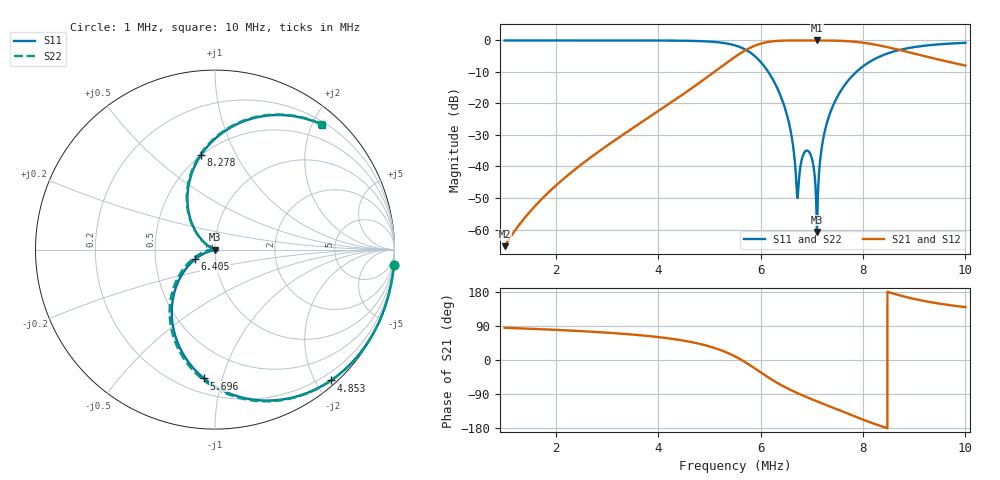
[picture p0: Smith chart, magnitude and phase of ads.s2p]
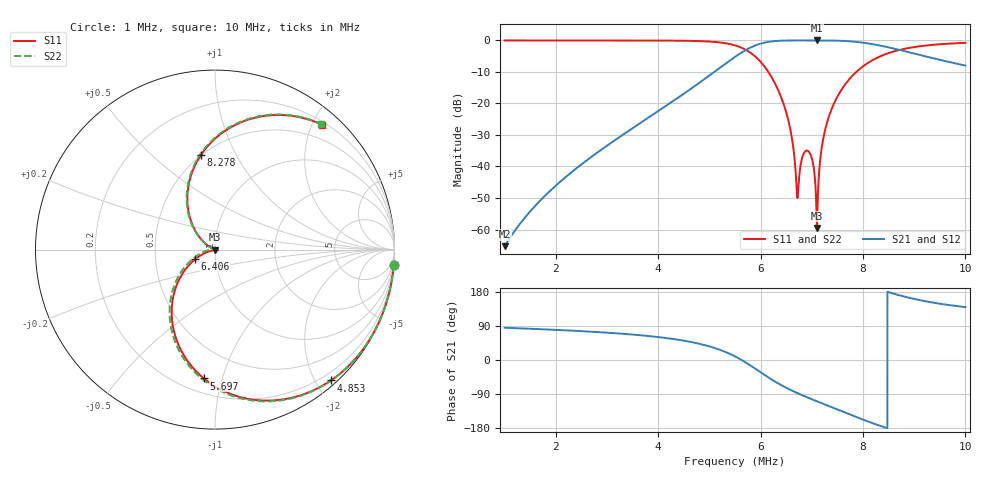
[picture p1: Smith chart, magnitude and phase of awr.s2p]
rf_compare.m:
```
scriptDir = fileparts(mfilename("fullpath"));
epsDir = [scriptDir, '/eps/rf']
mkdir(epsDir)
ads = sparameters('data/rf_tank/ads.s2p')
awr = sparameters('data/rf_tank/awr.s2p')
meas = sparameters('data/rf_tank/TUNEDCOILS1.S2P')
S11ads=rfparam(ads,1,1);
S11meas=rfparam(meas,1,1);

freqsads = ads.Frequencies;
freqsmeas = meas.Frequencies;
f=figure("Position",[100,100,400,450]);
plt = smithplot();
ax = f.CurrentAxes;
hold(ax,"on");


% a=smithplot(ax,freqsads,S11ads);%,"LegendLabels",{'Simulation S11'});
% b=smithplot(ax,freqsmeas,S11meas);%,"LegendLabels",{'Measured S11'});
smithplot(meas,1,1,"LegendLabels",{'S11, Measured'})
smithplot(ads,1,1,"LegendLabels",{'S11, ADS Simulation'});
% c=smithplot(awr,1,1,'--',"LegendLabels", {'AWR Simulation S11'})
legend(ax,"Location","southoutside")
figure
rfplot(ads)
hold on
rfplot(meas)

figure;

exportgraphics(ax,[epsDir, '/s11.eps'])



%% CLEAN THIS

figure("Position",[100,100,400,450]);
nexttile

% tiledlayout("horizontal")
% nexttile
% plot(ads.Frequencies,abs(x))
% nexttile
% plot(ads.Frequencies,rad2deg(angle(x)))
% nexttile
% tiledlayout("vertical")
% nexttile
% plot(ads.Frequencies,abs(x))
% nexttile
% plot(ads.Frequencies,rad2deg(angle(x)))
% nexttile
% rfplot(ads,1,1)
% rfplot(ads,1,1,"abs")
% 
ads_z = zparameters(ads)

ads_z.Parameters(1,1)
ads_z.Parameters(:,1,1)

tiledlayout('vertical')
nexttile

plot(ads_z.Frequencies,abs(rfparam(ads_z,1,1)))
plot(ads_z.Frequencies,db(rfparam(ads_z,1,1)))
nexttile
plot(ads_z.Frequencies,rad2deg(angle(rfparam(ads_z,1,1))))
nexttile(1)
hold on
meas_z = zparameters(meas)
plot(meas_z.Frequencies,db(rfparam(meas_z,1,1)))
xline(6.78e6)
nexttile
nexttile(2)
hold on
plot(meas_z.Frequencies,rad2deg(angle(rfparam(meas_z,1,1))))
%-- 1/12/2026 04:43 PM --%
```
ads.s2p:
! Created Sun Jan 11 17:40:14 2026
# hz S ma R 50
! 2 Port Network Data from SP1.SP block
! freq  magS11  angS11  magS21  angS21  magS12  angS12  magS22  angS22
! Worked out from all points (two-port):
!   10001 points, 1 MHz to 10 MHz, reference 50 ohm
!   highest |S21| = 0.00 dB at 7.098 MHz (marker M1); lowest = -65.3 dB at 1 MHz (marker M2)
!   |S21| within 3 dB of the highest: 5.717 MHz to 8.711 MHz (2.995 MHz wide, 41.5 % of centre)
!   lowest |S11| = -60.8 dB at 7.101 MHz (marker M3), VSWR 1.00, Z = 50 - j0.0844 ohm
!   |S11| at or under -10 dB: 6.151 MHz to 7.869 MHz (1.718 MHz wide, 24.5 % of centre)
!   |S22| runs from -58.4 to 0.0 dB; largest |S21 - S12| = 0
!   S11 on the Smith chart (normalised r, x): 1 MHz: 0, -24; 4.853 MHz: 0.08, -2.22; 5.696 MHz: 0.29, -0.88; 6.405 MHz: 0.80, -0.09; 8.278 MHz: 0.50, +0.73; 10 MHz: 0.25, +2.15
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1000000  1 -4.9  0.000544 85.1  0.000544 85.1  1 -4.9
4852900  0.9736 -48.5  0.2276 41.2  0.2276 41.2  0.9736 -49.1
5500000  0.8354 -80.0  0.549 9.5  0.549 9.5  0.8354 -81.0
5696200  0.7207 -94.9  0.6926 -5.5  0.6926 -5.5  0.7207 -96.1
6405400  0.1231 -154.0  0.9919 -66.5  0.9919 -66.5  0.1231 -158.8
6714100  0.003349 -104.1  0.9996 -87.1  0.9996 -87.1  0.003308 110.3
7098400  0.001018 -84.5  0.9996 -108.9  0.9996 -108.9  0.001279 52.1
7101100  0.000914 -112.4  0.9996 -109.1  0.9996 -109.1  0.001199 73.7
7420600  0.09453 143.3  0.9951 -126.3  0.9951 -126.3  0.09453 143.8
8278300  0.5322 98.5  0.8461 -171.1  0.8461 -171.1  0.5322 99.2
1e7  0.9164 49.4  0.3999 139.6  0.3999 139.6  0.9164 49.8
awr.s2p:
! AWR Design Environment (19348) Sun Jan 11 20:23:27 2026
! Document = 'Resonant Tank Simulation'
! nPorts: 2, nXvals: 10001
# MHz S DB R 50
!Freq DBS11 AngS11 DBS21 AngS21 DBS12 AngS12 DBS22 AngS22
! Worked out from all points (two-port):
!   10001 points, 1 MHz to 10 MHz, reference 50 ohm
!   highest |S21| = 0.00 dB at 7.101 MHz (marker M1); lowest = -65.3 dB at 1 MHz (marker M2)
!   |S21| within 3 dB of the highest: 5.717 MHz to 8.711 MHz (2.994 MHz wide, 41.5 % of centre)
!   lowest |S11| = -59.5 dB at 7.101 MHz (marker M3), VSWR 1.00, Z = 50 - j0.0979 ohm
!   |S11| at or under -10 dB: 6.151 MHz to 7.869 MHz (1.718 MHz wide, 24.5 % of centre)
!   |S22| runs from -59.5 to 0.0 dB; largest |S21 - S12| = 1.6e-11
!   S11 on the Smith chart (normalised r, x): 1 MHz: 0, -24; 4.853 MHz: 0.08, -2.22; 5.697 MHz: 0.29, -0.87; 6.406 MHz: 0.80, -0.09; 8.278 MHz: 0.50, +0.73; 10 MHz: 0.25, +2.15
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1  -0.00 -4.9  -65.29 85.1  -65.29 85.1  -0.00 -4.9
4.8529  -0.23 -48.5  -12.86 41.2  -12.86 41.2  -0.23 -49.1
5.5  -1.56 -80.0  -5.21 9.5  -5.21 9.5  -1.56 -81.0
5.6971  -2.85 -94.9  -3.18 -5.6  -3.18 -5.6  -2.85 -96.2
6.4063  -18.23 -154.2  -0.07 -66.5  -0.07 -66.5  -18.23 -158.9
6.7141  -49.55 -104.3  -0.00 -87.1  -0.00 -87.1  -49.55 110.1
6.9229  -35.03 -15.7  -0.00 -99.2  -0.00 -99.2  -35.03 -2.8
7.1011  -59.52 -112.1  -0.00 -109.1  -0.00 -109.1  -59.52 73.9
7.4224  -20.42 143.3  -0.04 -126.4  -0.04 -126.4  -20.42 143.9
8.2783  -5.47 98.5  -1.45 -171.1  -1.45 -171.1  -5.47 99.2
10  -0.76 49.4  -7.96 139.6  -7.96 139.6  -0.76 49.8
